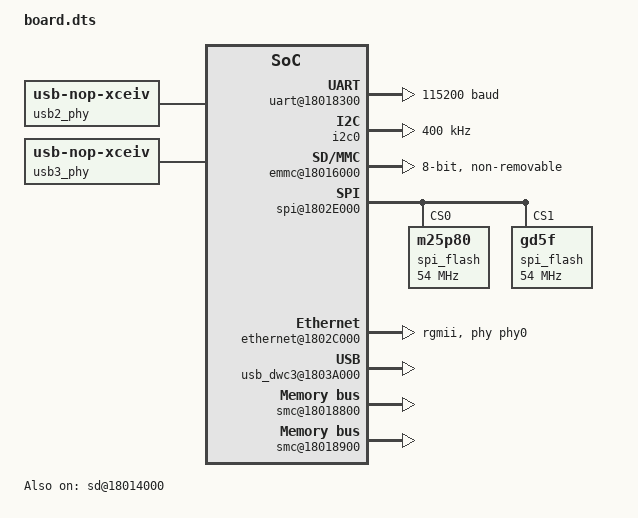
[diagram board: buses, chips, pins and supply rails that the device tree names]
/*
 * CAP210 platform DTS
 * Copyright(C) 2014 ALi Corporation. All rights reserved.
 *
 * This program is free software; you can redistribute it and/or modify
 * it under the terms of the GNU General Public License version 2 as
 * published by the Free Software Foundation.
 *
 * This program is distributed in the hope that it will be useful,
 * but WITHOUT ANY WARRANTY; without even the implied warranty of
 * MERCHANTABILITY or FITNESS FOR A PARTICULAR PURPOSE.  See the
 * GNU General Public License for more details.
 */

/dts-v1/;

/include/ "ali_cap210.dtsi"
/include/ "ali_cap210_see_kl.dtsi"
/include/ "ali_ts_plat.dtsi"
/include/ "cap210_256MB.dtsi"

/ {
	board {
		label = "CAP210-dev-board";
	};

	chosen {
		name = "chosen";
		bootargs = "earlycon=uart8250,mmio,0x18018300,115200N8 console=ttyS0,115200N8";
		linux,stdout-path = "null";
	};

	/*
	 * select dram space
	 * set FLH_DRAM_SEL bit in CPU ctrl reg 0x220
	 */
	init_bit@0x18000220{
		device_type = "alitech,platform-setup-setbit";
		reg_bit = <0x18000220 24 1>;
	};

	/*
	 * enable support of 2G DRAM size
	 * set SUPPORT_2GB_EN bit in CPU ctrl reg 0x220
	 */
	init_bit@0x18000221{
		device_type = "alitech,platform-setup-setbit";
		reg_bit = <0x18000220 25 1>;
	};

	/*
	 * Allow CPU to access flash data from address 0xBFC0_xxxx.
	 * Note that CPU can always use 0xAFC0_0000 to access FLASH.
	 */
	init_bit@0x18070000{
		device_type = "alitech,platform-setup-setbit";
		reg_bit = <0x18070000 0 1>;
	};

	soc {
		uart@18018300 {
			compatible = "ns16550a";
			reg = <0x18018300 0x0C>;
			interrupts = <16>;
			clock-frequency = <1843200>;
			current-speed = <115200>;
			reg-offset = <0>;
			reg-shift = <0>;
			fifo-size = <16>;
			reg-io-width = <1>;
		};
		i2c0: i2c@18018200 {
			#address-cells = <1>;
			#size-cells = <1>;
			compatible = "alitech,i2c";
			clocks = <&cap210_clks_gate0 6>;
			clock-names = "scb_clk";
			reg = <0x18018200 0x20>;
			interrupts = <18 >;
			clock-frequency = <400000>;
			pinctrl-0 = <&i2c_pin_mux>;
			pinctrl-names = "default";
		};
		sd@18014000 {
			compatible = "alitech,sd";
			reg = <0x18014000 0x1000>;
			interrupts = <10>;
			resets = <&rstc 30>;
			clocks = <&cap210_clks_gate1 6>;
			clock-names = "sdio_ctrl_clk";
			max-frequency = <99000000>;
			bus-width = <4>;
			cd-gpios = <&gpio2 20 1>;
			wp-gpios = <&gpio0 2 1>;
			wp-inverted;
			cap-sd-highspeed;
			cap-sdio-irq;
			#address-cells = <1>;
			#size-cells = <1>;
			status = "okay";
			pinctrl-0 = <&sdio_pin_mux>;
			pinctrl-names = "default";
		};

		emmc@18016000 {
			compatible = "alitech,emmc";
			reg = <0x18016000 0x1000>;
			interrupts = <41>;
			resets = <&rstc 44>;
			clocks = <&cap210_clks_gate1 5>;
			clock-names = "emmc_ctrl_clk";
			max-frequency = <99000000>;
			bus-width = <8>;
			non-removable;
			cap-mmc-highspeed;
			#address-cells = <1>;
			#size-cells = <1>;
			pulldown-ctrl = <0x18000504 7 0>;
			status = "okay";
			pinctrl-0 = <&emmc_pin_mux>;
			pinctrl-names = "default";
		};

		spi@1802E000 {
			status = "okay";
			/* NOR flash */
			spi_flash@0 {
				#address-cells = <1>;
				#size-cells = <1>;
				compatible = "m25p80";
				reg = <0>;
				spi-max-frequency = <54000000>;
				spi-cpol;
				spi-cpha;
				spi-tx-bus-width = <1>;
				spi-rx-bus-width = <4>;
			};

			/* NAND flash */
			spi_flash@1 {
				#address-cells = <1>;
				#size-cells = <1>;
				compatible = "gd5f";
				reg = <1>;
				spi-max-frequency = <54000000>;
				spi-cpol;
				spi-cpha;
				spi-tx-bus-width = <1>;
				spi-rx-bus-width = <4>;
			};
		};

		ethernet@1802C000 {
			compatible = "alitech,cap210-toe2";
			#address-cells =<1>;
			#size-cells = <0>;
			device_type = "network";
			model = "ALI TOE2";
			reg = <0x1802C000 0x100>;
			interrupts = <38>;
			rx-csum-enable = <1>;
			tx-csum-enable = <1>;
			phy = <&phy0>;
			phy-reset-gpio = <&gpio2 20 0>;
			phy-reset-duration = <200>;
			phy-blink-gpios = <&gpio1 1 0>, <&gpio2 31 0>;
			phy-mode = "rgmii";
			phy-reversemii = <0>;
			clocks = <&cap210_clks_gate1 13>;
			clock-names = "mac_clk";
			status = "okay";
			pinctrl-0 = <&eth_pin_mux>;
			pinctrl-names = "default";
			phy0: ethernet-phy@0 {
				phy-addr = <1>;
				device_type = "ethernet-phy";
			};
		};

		usb2_phy: usbphy@0 {
			compatible = "usb-nop-xceiv";
			status = "okay";
		};

		usb3_phy: usbphy@1 {
			compatible = "usb-nop-xceiv";
			status = "okay";
		};

		usb_dwc3@1803A000 {
			compatible = "alitech,dwc3";
			reg = <0x1803A000 0x2000>;
			clocks = <&cap210_clks_gate0 8>;

			clock-names = "usb_clk";
			dma-limit-range = <0x00000000 0xFFFFFFFF>;
			#address-cells = <1>;
			#size-cells = <1>;
			ranges;
			status = "okay";

			dwc3@18030000 {
				compatible = "synopsys,dwc3";
				reg = <0x18030000 0xD000>;
				interrupts = <29>;
				usb-phy = <&usb2_phy &usb3_phy>;
				status = "okay";
			};
		};

		wdt1@18018500 {
			compatible = "alitech,cap210-wdt";
			reg = <0x18018500 0x0A>;
			clocks = <&wdt_clk>;
			clock-names = "wdt_clk";
			timeout-secs = <10>;
			nowayout = <1>;
			wdt_mode = <32>;
		};

		wdt2@18018510 {
			compatible = "alitech,cap210-wdt";
			reg = <0x18018510 0x0A>;
			interrupts = <23>;
			clocks = <&wdt_clk>;
			clock-names = "wdt_clk";
			timeout-secs = <10>;
			nowayout = <1>;
			wdt_mode = <16>;
		};

		smc@18018800 {
			compatible = "alitech,smc";
			index = <0>;
			reg = <0x18018800 0x100>;
			resets = <&rstc 20>;
			interrupts = <20>;
			clocks = <&cap210_clks_gate0 1>;
			clock-names = "scr1_clk";
			init_clk_array = <3600000 5000000>;
			invert_power = <0>;
			invert_detect = <1>;
			en_power_open_drain = <0>;
			en_clk_open_drain = <0>;
			en_data_open_drain = <0>;
			en_rst_open_drain = <0>;
			class_gpios = <&gpio0 3 1>, <&gpio0 3 1>;
			class_a_gpio_info = <1 1>;
			class_b_gpio_info = <0 0>;
			pinctrl-0 = <&smc0_pin_mux>;
			pinctrl-names = "default";
			status = "okay";
		};

		smc@18018900 {
			compatible = "alitech,smc";
			index = <1>;
			reg = <0x18018900 0x100>;
			resets = <&rstc 21>;
			interrupts = <21>;
			clocks = <&cap210_clks_gate0 2>;
			clock-names = "scr2_clk";
			init_clk_array = <3600000>;
			invert_power = <0>;
			invert_detect = <1>;
			en_power_open_drain = <0>;
			en_clk_open_drain = <0>;
			en_data_open_drain = <0>;
			en_rst_open_drain = <0>;
			class_gpios = <&gpio2 21 1>, <&gpio2 21 1>;
			class_a_gpio_info = <1 1>;
			class_b_gpio_info = <0 0>;
			pinctrl-0 = <&smc1_pin_mux>;
			pinctrl-names = "default";
			status = "okay";
		};

		globalfifo@2 {
			compatible = "henry,globalfifo";
		};
	};
};
